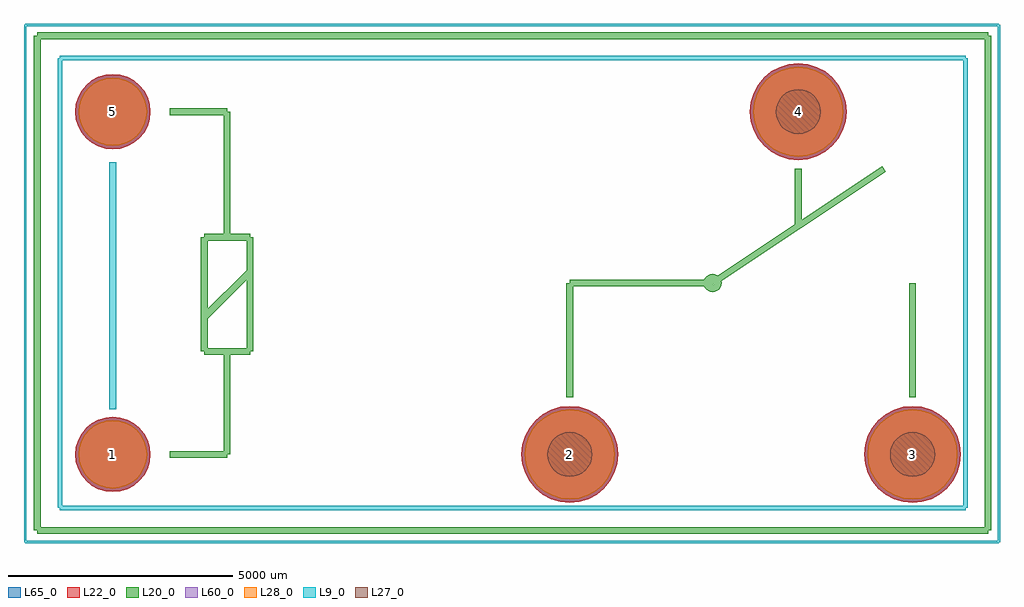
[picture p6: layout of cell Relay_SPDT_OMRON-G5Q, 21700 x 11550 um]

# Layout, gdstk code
import gdstk
lib = gdstk.Library(unit=1e-6, precision=1e-09)
def P(c, l, *ps):  # polygons
    for p in ps: c.add(gdstk.Polygon(p, *l))
L9_0 = (9, 0)
L20_0 = (20, 0)
L22_0 = (22, 0)
L27_0 = (27, 0)
L28_0 = (28, 0)
L60_0 = (60, 0)
L65_0 = (65, 0)

relay_spdt_omron_g5q = lib.new_cell('Relay_SPDT_OMRON-G5Q')
P(relay_spdt_omron_g5q, L22_0, [(835,7620),(818.956,7782.9),(771.439,7939.541),(694.277,8083.901),(590.434,8210.434),(463.901,8314.277),(319.541,8391.439),(162.9,8438.956),(0,8455),(-162.9,8438.956),(-319.541,8391.439),(-463.901,8314.277),(-590.434,8210.434),(-694.277,8083.901),(-771.439,7939.541),(-818.956,7782.9),(-835,7620),(-818.956,7457.1),(-771.439,7300.459),(-694.277,7156.099),(-590.434,7029.566),(-463.901,6925.723),(-319.541,6848.561),(-162.9,6801.044),(0,6785),(162.9,6801.044),(319.541,6848.561),(463.901,6925.723),(590.434,7029.566),(694.277,7156.099),(771.439,7300.459),(818.956,7457.1)],
  [(16315,7620),(16294.344,7829.722),(16233.17,8031.385),(16133.83,8217.238),(16000.14,8380.14),(15837.238,8513.83),(15651.385,8613.17),(15449.722,8674.344),(15240,8695),(15030.278,8674.344),(14828.615,8613.17),(14642.762,8513.83),(14479.86,8380.14),(14346.17,8217.238),(14246.83,8031.385),(14185.656,7829.722),(14165,7620),(14185.656,7410.278),(14246.83,7208.615),(14346.17,7022.762),(14479.86,6859.86),(14642.762,6726.17),(14828.615,6626.83),(15030.278,6565.656),(15240,6545),(15449.722,6565.656),(15651.385,6626.83),(15837.238,6726.17),(16000.14,6859.86),(16133.83,7022.762),(16233.17,7208.615),(16294.344,7410.278)],
  [(18855,0),(18834.344,209.722),(18773.17,411.385),(18673.83,597.238),(18540.14,760.14),(18377.238,893.83),(18191.385,993.17),(17989.722,1054.344),(17780,1075),(17570.278,1054.344),(17368.615,993.17),(17182.762,893.83),(17019.86,760.14),(16886.17,597.238),(16786.83,411.385),(16725.656,209.722),(16705,0),(16725.656,-209.722),(16786.83,-411.385),(16886.17,-597.238),(17019.86,-760.14),(17182.762,-893.83),(17368.615,-993.17),(17570.278,-1054.344),(17780,-1075),(17989.722,-1054.344),(18191.385,-993.17),(18377.238,-893.83),(18540.14,-760.14),(18673.83,-597.238),(18773.17,-411.385),(18834.344,-209.722)],
  [(11235,0),(11214.344,209.722),(11153.17,411.385),(11053.83,597.238),(10920.14,760.14),(10757.238,893.83),(10571.385,993.17),(10369.722,1054.344),(10160,1075),(9950.278,1054.344),(9748.615,993.17),(9562.762,893.83),(9399.86,760.14),(9266.17,597.238),(9166.83,411.385),(9105.656,209.722),(9085,0),(9105.656,-209.722),(9166.83,-411.385),(9266.17,-597.238),(9399.86,-760.14),(9562.762,-893.83),(9748.615,-993.17),(9950.278,-1054.344),(10160,-1075),(10369.722,-1054.344),(10571.385,-993.17),(10757.238,-893.83),(10920.14,-760.14),(11053.83,-597.238),(11153.17,-411.385),(11214.344,-209.722)],
  [(835,0),(818.956,162.9),(771.439,319.541),(694.277,463.901),(590.434,590.434),(463.901,694.277),(319.541,771.439),(162.9,818.956),(0,835),(-162.9,818.956),(-319.541,771.439),(-463.901,694.277),(-590.434,590.434),(-694.277,463.901),(-771.439,319.541),(-818.956,162.9),(-835,0),(-818.956,-162.9),(-771.439,-319.541),(-694.277,-463.901),(-590.434,-590.434),(-463.901,-694.277),(-319.541,-771.439),(-162.9,-818.956),(0,-835),(162.9,-818.956),(319.541,-771.439),(463.901,-694.277),(590.434,-590.434),(694.277,-463.901),(771.439,-319.541),(818.956,-162.9)])
P(relay_spdt_omron_g5q, L27_0, [(15739.999,7620),(15730.392,7717.545),(15701.939,7811.341),(15655.734,7897.785),(15593.553,7973.553),(15517.785,8035.734),(15431.341,8081.939),(15337.545,8110.392),(15240,8119.999),(15142.455,8110.392),(15048.659,8081.939),(14962.215,8035.734),(14886.447,7973.553),(14824.266,7897.785),(14778.061,7811.341),(14749.608,7717.545),(14740.001,7620),(14749.608,7522.455),(14778.061,7428.659),(14824.266,7342.215),(14886.447,7266.447),(14962.215,7204.266),(15048.659,7158.061),(15142.455,7129.608),(15240,7120.001),(15337.545,7129.608),(15431.341,7158.061),(15517.785,7204.266),(15593.553,7266.447),(15655.734,7342.215),(15701.939,7428.659),(15730.392,7522.455)],
  [(18279.999,0),(18270.392,97.545),(18241.939,191.341),(18195.734,277.785),(18133.553,353.553),(18057.785,415.734),(17971.341,461.939),(17877.545,490.392),(17780,499.999),(17682.455,490.392),(17588.659,461.939),(17502.215,415.734),(17426.447,353.553),(17364.266,277.785),(17318.061,191.341),(17289.608,97.545),(17280.001,0),(17289.608,-97.545),(17318.061,-191.341),(17364.266,-277.785),(17426.447,-353.553),(17502.215,-415.734),(17588.659,-461.939),(17682.455,-490.392),(17780,-499.999),(17877.545,-490.392),(17971.341,-461.939),(18057.785,-415.734),(18133.553,-353.553),(18195.734,-277.785),(18241.939,-191.341),(18270.392,-97.545)],
  [(10659.999,0),(10650.392,97.545),(10621.939,191.341),(10575.734,277.785),(10513.553,353.553),(10437.785,415.734),(10351.341,461.939),(10257.545,490.392),(10160,499.999),(10062.455,490.392),(9968.659,461.939),(9882.215,415.734),(9806.447,353.553),(9744.266,277.785),(9698.061,191.341),(9669.608,97.545),(9660.001,0),(9669.608,-97.545),(9698.061,-191.341),(9744.266,-277.785),(9806.447,-353.553),(9882.215,-415.734),(9968.659,-461.939),(10062.455,-490.392),(10160,-499.999),(10257.545,-490.392),(10351.341,-461.939),(10437.785,-415.734),(10513.553,-353.553),(10575.734,-277.785),(10621.939,-191.341),(10650.392,-97.545)])
P(relay_spdt_omron_g5q, L28_0, [(760,7620),(745.397,7768.269),(702.148,7910.839),(631.917,8042.233),(537.401,8157.401),(422.233,8251.917),(290.839,8322.148),(148.269,8365.397),(0,8380),(-148.269,8365.397),(-290.839,8322.148),(-422.233,8251.917),(-537.401,8157.401),(-631.917,8042.233),(-702.148,7910.839),(-745.397,7768.269),(-760,7620),(-745.397,7471.731),(-702.148,7329.161),(-631.917,7197.767),(-537.401,7082.599),(-422.233,6988.083),(-290.839,6917.852),(-148.269,6874.603),(0,6860),(148.269,6874.603),(290.839,6917.852),(422.233,6988.083),(537.401,7082.599),(631.917,7197.767),(702.148,7329.161),(745.397,7471.731)],
  [(16240,7620),(16220.785,7815.09),(16163.88,8002.683),(16071.47,8175.57),(15947.107,8327.107),(15795.57,8451.47),(15622.683,8543.88),(15435.09,8600.785),(15240,8620),(15044.91,8600.785),(14857.317,8543.88),(14684.43,8451.47),(14532.893,8327.107),(14408.53,8175.57),(14316.12,8002.683),(14259.215,7815.09),(14240,7620),(14259.215,7424.91),(14316.12,7237.317),(14408.53,7064.43),(14532.893,6912.893),(14684.43,6788.53),(14857.317,6696.12),(15044.91,6639.215),(15240,6620),(15435.09,6639.215),(15622.683,6696.12),(15795.57,6788.53),(15947.107,6912.893),(16071.47,7064.43),(16163.88,7237.317),(16220.785,7424.91)],
  [(18780,0),(18760.785,195.09),(18703.88,382.683),(18611.47,555.57),(18487.107,707.107),(18335.57,831.47),(18162.683,923.88),(17975.09,980.785),(17780,1000),(17584.91,980.785),(17397.317,923.88),(17224.43,831.47),(17072.893,707.107),(16948.53,555.57),(16856.12,382.683),(16799.215,195.09),(16780,0),(16799.215,-195.09),(16856.12,-382.683),(16948.53,-555.57),(17072.893,-707.107),(17224.43,-831.47),(17397.317,-923.88),(17584.91,-980.785),(17780,-1000),(17975.09,-980.785),(18162.683,-923.88),(18335.57,-831.47),(18487.107,-707.107),(18611.47,-555.57),(18703.88,-382.683),(18760.785,-195.09)],
  [(11160,0),(11140.785,195.09),(11083.88,382.683),(10991.47,555.57),(10867.107,707.107),(10715.57,831.47),(10542.683,923.88),(10355.09,980.785),(10160,1000),(9964.91,980.785),(9777.317,923.88),(9604.43,831.47),(9452.893,707.107),(9328.53,555.57),(9236.12,382.683),(9179.215,195.09),(9160,0),(9179.215,-195.09),(9236.12,-382.683),(9328.53,-555.57),(9452.893,-707.107),(9604.43,-831.47),(9777.317,-923.88),(9964.91,-980.785),(10160,-1000),(10355.09,-980.785),(10542.683,-923.88),(10715.57,-831.47),(10867.107,-707.107),(10991.47,-555.57),(11083.88,-382.683),(11140.785,-195.09)],
  [(760,0),(745.397,148.269),(702.148,290.839),(631.917,422.233),(537.401,537.401),(422.233,631.917),(290.839,702.148),(148.269,745.397),(0,760),(-148.269,745.397),(-290.839,702.148),(-422.233,631.917),(-537.401,537.401),(-631.917,422.233),(-702.148,290.839),(-745.397,148.269),(-760,0),(-745.397,-148.269),(-702.148,-290.839),(-631.917,-422.233),(-537.401,-537.401),(-422.233,-631.917),(-290.839,-702.148),(-148.269,-745.397),(0,-760),(148.269,-745.397),(290.839,-702.148),(422.233,-631.917),(537.401,-537.401),(631.917,-422.233),(702.148,-290.839),(745.397,-148.269)])
P(relay_spdt_omron_g5q, L60_0, [(760,7620),(745.397,7768.269),(702.148,7910.839),(631.917,8042.233),(537.401,8157.401),(422.233,8251.917),(290.839,8322.148),(148.269,8365.397),(0,8380),(-148.269,8365.397),(-290.839,8322.148),(-422.233,8251.917),(-537.401,8157.401),(-631.917,8042.233),(-702.148,7910.839),(-745.397,7768.269),(-760,7620),(-745.397,7471.731),(-702.148,7329.161),(-631.917,7197.767),(-537.401,7082.599),(-422.233,6988.083),(-290.839,6917.852),(-148.269,6874.603),(0,6860),(148.269,6874.603),(290.839,6917.852),(422.233,6988.083),(537.401,7082.599),(631.917,7197.767),(702.148,7329.161),(745.397,7471.731)],
  [(16240,7620),(16220.785,7815.09),(16163.88,8002.683),(16071.47,8175.57),(15947.107,8327.107),(15795.57,8451.47),(15622.683,8543.88),(15435.09,8600.785),(15240,8620),(15044.91,8600.785),(14857.317,8543.88),(14684.43,8451.47),(14532.893,8327.107),(14408.53,8175.57),(14316.12,8002.683),(14259.215,7815.09),(14240,7620),(14259.215,7424.91),(14316.12,7237.317),(14408.53,7064.43),(14532.893,6912.893),(14684.43,6788.53),(14857.317,6696.12),(15044.91,6639.215),(15240,6620),(15435.09,6639.215),(15622.683,6696.12),(15795.57,6788.53),(15947.107,6912.893),(16071.47,7064.43),(16163.88,7237.317),(16220.785,7424.91)],
  [(18780,0),(18760.785,195.09),(18703.88,382.683),(18611.47,555.57),(18487.107,707.107),(18335.57,831.47),(18162.683,923.88),(17975.09,980.785),(17780,1000),(17584.91,980.785),(17397.317,923.88),(17224.43,831.47),(17072.893,707.107),(16948.53,555.57),(16856.12,382.683),(16799.215,195.09),(16780,0),(16799.215,-195.09),(16856.12,-382.683),(16948.53,-555.57),(17072.893,-707.107),(17224.43,-831.47),(17397.317,-923.88),(17584.91,-980.785),(17780,-1000),(17975.09,-980.785),(18162.683,-923.88),(18335.57,-831.47),(18487.107,-707.107),(18611.47,-555.57),(18703.88,-382.683),(18760.785,-195.09)],
  [(11160,0),(11140.785,195.09),(11083.88,382.683),(10991.47,555.57),(10867.107,707.107),(10715.57,831.47),(10542.683,923.88),(10355.09,980.785),(10160,1000),(9964.91,980.785),(9777.317,923.88),(9604.43,831.47),(9452.893,707.107),(9328.53,555.57),(9236.12,382.683),(9179.215,195.09),(9160,0),(9179.215,-195.09),(9236.12,-382.683),(9328.53,-555.57),(9452.893,-707.107),(9604.43,-831.47),(9777.317,-923.88),(9964.91,-980.785),(10160,-1000),(10355.09,-980.785),(10542.683,-923.88),(10715.57,-831.47),(10867.107,-707.107),(10991.47,-555.57),(11083.88,-382.683),(11140.785,-195.09)],
  [(760,0),(745.397,148.269),(702.148,290.839),(631.917,422.233),(537.401,537.401),(422.233,631.917),(290.839,702.148),(148.269,745.397),(0,760),(-148.269,745.397),(-290.839,702.148),(-422.233,631.917),(-537.401,537.401),(-631.917,422.233),(-702.148,290.839),(-745.397,148.269),(-760,0),(-745.397,-148.269),(-702.148,-290.839),(-631.917,-422.233),(-537.401,-537.401),(-422.233,-631.917),(-290.839,-702.148),(-148.269,-745.397),(0,-760),(148.269,-745.397),(290.839,-702.148),(422.233,-631.917),(537.401,-537.401),(631.917,-422.233),(702.148,-290.839),(745.397,-148.269)])
P(relay_spdt_omron_g5q, L65_0, [(835,7620),(818.956,7782.9),(771.439,7939.541),(694.277,8083.901),(590.434,8210.434),(463.901,8314.277),(319.541,8391.439),(162.9,8438.956),(0,8455),(-162.9,8438.956),(-319.541,8391.439),(-463.901,8314.277),(-590.434,8210.434),(-694.277,8083.901),(-771.439,7939.541),(-818.956,7782.9),(-835,7620),(-818.956,7457.1),(-771.439,7300.459),(-694.277,7156.099),(-590.434,7029.566),(-463.901,6925.723),(-319.541,6848.561),(-162.9,6801.044),(0,6785),(162.9,6801.044),(319.541,6848.561),(463.901,6925.723),(590.434,7029.566),(694.277,7156.099),(771.439,7300.459),(818.956,7457.1)],
  [(16315,7620),(16294.344,7829.722),(16233.17,8031.385),(16133.83,8217.238),(16000.14,8380.14),(15837.238,8513.83),(15651.385,8613.17),(15449.722,8674.344),(15240,8695),(15030.278,8674.344),(14828.615,8613.17),(14642.762,8513.83),(14479.86,8380.14),(14346.17,8217.238),(14246.83,8031.385),(14185.656,7829.722),(14165,7620),(14185.656,7410.278),(14246.83,7208.615),(14346.17,7022.762),(14479.86,6859.86),(14642.762,6726.17),(14828.615,6626.83),(15030.278,6565.656),(15240,6545),(15449.722,6565.656),(15651.385,6626.83),(15837.238,6726.17),(16000.14,6859.86),(16133.83,7022.762),(16233.17,7208.615),(16294.344,7410.278)],
  [(18855,0),(18834.344,209.722),(18773.17,411.385),(18673.83,597.238),(18540.14,760.14),(18377.238,893.83),(18191.385,993.17),(17989.722,1054.344),(17780,1075),(17570.278,1054.344),(17368.615,993.17),(17182.762,893.83),(17019.86,760.14),(16886.17,597.238),(16786.83,411.385),(16725.656,209.722),(16705,0),(16725.656,-209.722),(16786.83,-411.385),(16886.17,-597.238),(17019.86,-760.14),(17182.762,-893.83),(17368.615,-993.17),(17570.278,-1054.344),(17780,-1075),(17989.722,-1054.344),(18191.385,-993.17),(18377.238,-893.83),(18540.14,-760.14),(18673.83,-597.238),(18773.17,-411.385),(18834.344,-209.722)],
  [(11235,0),(11214.344,209.722),(11153.17,411.385),(11053.83,597.238),(10920.14,760.14),(10757.238,893.83),(10571.385,993.17),(10369.722,1054.344),(10160,1075),(9950.278,1054.344),(9748.615,993.17),(9562.762,893.83),(9399.86,760.14),(9266.17,597.238),(9166.83,411.385),(9105.656,209.722),(9085,0),(9105.656,-209.722),(9166.83,-411.385),(9266.17,-597.238),(9399.86,-760.14),(9562.762,-893.83),(9748.615,-993.17),(9950.278,-1054.344),(10160,-1075),(10369.722,-1054.344),(10571.385,-993.17),(10757.238,-893.83),(10920.14,-760.14),(11053.83,-597.238),(11153.17,-411.385),(11214.344,-209.722)],
  [(835,0),(818.956,162.9),(771.439,319.541),(694.277,463.901),(590.434,590.434),(463.901,694.277),(319.541,771.439),(162.9,818.956),(0,835),(-162.9,818.956),(-319.541,771.439),(-463.901,694.277),(-590.434,590.434),(-694.277,463.901),(-771.439,319.541),(-818.956,162.9),(-835,0),(-818.956,-162.9),(-771.439,-319.541),(-694.277,-463.901),(-590.434,-590.434),(-463.901,-694.277),(-319.541,-771.439),(-162.9,-818.956),(0,-835),(162.9,-818.956),(319.541,-771.439),(463.901,-694.277),(590.434,-590.434),(694.277,-463.901),(771.439,-319.541),(818.956,-162.9)])
relay_spdt_omron_g5q.add(gdstk.FlexPath([(-1680,9310),(19460,9310)], 149.998, ends="flush", simple_path=True, layer=20, datatype=0))  # L20_0
relay_spdt_omron_g5q.add(gdstk.FlexPath([(-1680,-1690),(-1680,9310)], 149.998, ends="flush", simple_path=True, layer=20, datatype=0))  # L20_0
relay_spdt_omron_g5q.add(gdstk.FlexPath([(19460,-1690),(19460,9310)], 149.998, ends="flush", simple_path=True, layer=20, datatype=0))  # L20_0
relay_spdt_omron_g5q.add(gdstk.FlexPath([(-1680,-1690),(19460,-1690)], 149.998, ends="flush", simple_path=True, layer=20, datatype=0))  # L20_0
relay_spdt_omron_g5q.add(gdstk.FlexPath([(3050,2290),(2540,2290)], 149.998, ends="flush", simple_path=True, layer=20, datatype=0))  # L20_0
relay_spdt_omron_g5q.add(gdstk.FlexPath([(3050,4830),(3050,2290)], 149.998, ends="flush", simple_path=True, layer=20, datatype=0))  # L20_0
relay_spdt_omron_g5q.add(gdstk.FlexPath([(2540,4830),(3050,4830)], 149.998, ends="flush", simple_path=True, layer=20, datatype=0))  # L20_0
relay_spdt_omron_g5q.add(gdstk.FlexPath([(2030,4830),(2540,4830)], 149.998, ends="flush", simple_path=True, layer=20, datatype=0))  # L20_0
relay_spdt_omron_g5q.add(gdstk.FlexPath([(2030,2290),(2030,4830)], 149.998, ends="flush", simple_path=True, layer=20, datatype=0))  # L20_0
relay_spdt_omron_g5q.add(gdstk.FlexPath([(2540,2290),(2030,2290)], 149.998, ends="flush", simple_path=True, layer=20, datatype=0))  # L20_0
relay_spdt_omron_g5q.add(gdstk.FlexPath([(1270,0),(2540,0)], 149.998, ends="flush", simple_path=True, layer=20, datatype=0))  # L20_0
relay_spdt_omron_g5q.add(gdstk.FlexPath([(2540,0),(2540,2290)], 149.998, ends="flush", simple_path=True, layer=20, datatype=0))  # L20_0
relay_spdt_omron_g5q.add(gdstk.FlexPath([(2540,4830),(2540,7620)], 149.998, ends="flush", simple_path=True, layer=20, datatype=0))  # L20_0
relay_spdt_omron_g5q.add(gdstk.FlexPath([(2540,7620),(1270,7620)], 149.998, ends="flush", simple_path=True, layer=20, datatype=0))  # L20_0
relay_spdt_omron_g5q.add(gdstk.FlexPath([(2030,3050),(3050,4060)], 149.998, ends="flush", simple_path=True, layer=20, datatype=0))  # L20_0
relay_spdt_omron_g5q.add(gdstk.FlexPath([(-1950,-1950),(-1950,9550)], 50, ends="flush", simple_path=True, layer=9, datatype=0))  # L9_0
relay_spdt_omron_g5q.add(gdstk.FlexPath([(19700,-1950),(-1950,-1950)], 50, ends="flush", simple_path=True, layer=9, datatype=0))  # L9_0
relay_spdt_omron_g5q.add(gdstk.FlexPath([(19700,9550),(19700,-1950)], 50, ends="flush", simple_path=True, layer=9, datatype=0))  # L9_0
relay_spdt_omron_g5q.add(gdstk.FlexPath([(-1950,9550),(19700,9550)], 50, ends="flush", simple_path=True, layer=9, datatype=0))  # L9_0
relay_spdt_omron_g5q.add(gdstk.FlexPath([(-1180,8810),(18960,8810)], 100, ends="flush", simple_path=True, layer=9, datatype=0))  # L9_0
relay_spdt_omron_g5q.add(gdstk.FlexPath([(-1180,-1190),(-1180,8810)], 100, ends="flush", simple_path=True, layer=9, datatype=0))  # L9_0
relay_spdt_omron_g5q.add(gdstk.FlexPath([(18960,-1190),(-1180,-1190)], 100, ends="flush", simple_path=True, layer=9, datatype=0))  # L9_0
relay_spdt_omron_g5q.add(gdstk.FlexPath([(18960,8810),(18960,-1190)], 100, ends="flush", simple_path=True, layer=9, datatype=0))  # L9_0
relay_spdt_omron_g5q.add(gdstk.FlexPath([(0,1000),(0,6500)], 149.998, ends="flush", simple_path=True, layer=9, datatype=0))  # L9_0
relay_spdt_omron_g5q.add(gdstk.FlexPath([(10160,3810),(13335,3810)], 149.998, ends="flush", simple_path=True, layer=20, datatype=0))  # L20_0
relay_spdt_omron_g5q.add(gdstk.FlexPath([(10160,1270),(10160,3810)], 149.998, ends="flush", simple_path=True, layer=20, datatype=0))  # L20_0
relay_spdt_omron_g5q.add(gdstk.FlexPath([(13462,3810),(13457.673,3842.87),(13444.985,3873.5),(13424.803,3899.803),(13398.5,3919.985),(13367.87,3932.673),(13335,3937),(13302.13,3932.673),(13271.5,3919.985),(13245.197,3899.803),(13225.015,3873.5),(13212.327,3842.87),(13208,3810),(13212.327,3777.13),(13225.015,3746.5),(13245.197,3720.197),(13271.5,3700.015),(13302.13,3687.327),(13335,3683),(13367.87,3687.327),(13398.5,3700.015),(13424.803,3720.197),(13444.985,3746.5),(13457.673,3777.13),(13462,3810)], 149.998, ends="flush", simple_path=True, layer=20, datatype=0))  # L20_0
relay_spdt_omron_g5q.add(gdstk.FlexPath([(15240,6350),(15240,5080)], 149.998, ends="flush", simple_path=True, layer=20, datatype=0))  # L20_0
relay_spdt_omron_g5q.add(gdstk.FlexPath([(13335,3810),(17145,6350)], 149.998, ends="flush", simple_path=True, layer=20, datatype=0))  # L20_0
relay_spdt_omron_g5q.add(gdstk.FlexPath([(17780,1270),(17780,3810)], 149.998, ends="flush", simple_path=True, layer=20, datatype=0))  # L20_0
relay_spdt_omron_g5q.add(gdstk.Label('5', (0,7620), layer=28, texttype=0))
relay_spdt_omron_g5q.add(gdstk.Label('4', (15240,7620), layer=28, texttype=0))
relay_spdt_omron_g5q.add(gdstk.Label('3', (17780,0), layer=28, texttype=0))
relay_spdt_omron_g5q.add(gdstk.Label('2', (10160,0), layer=28, texttype=0))
relay_spdt_omron_g5q.add(gdstk.Label('1', (0,0), layer=28, texttype=0))
relay_spdt_omron_g5q.add(gdstk.Label('type', (9000,-3000), layer=9, texttype=0))
relay_spdt_omron_g5q.add(gdstk.Label('devicename', (9500,10500), layer=9, texttype=0))

lib.write_gds('Relay_SPDT_OMRON-G5Q.gds')
